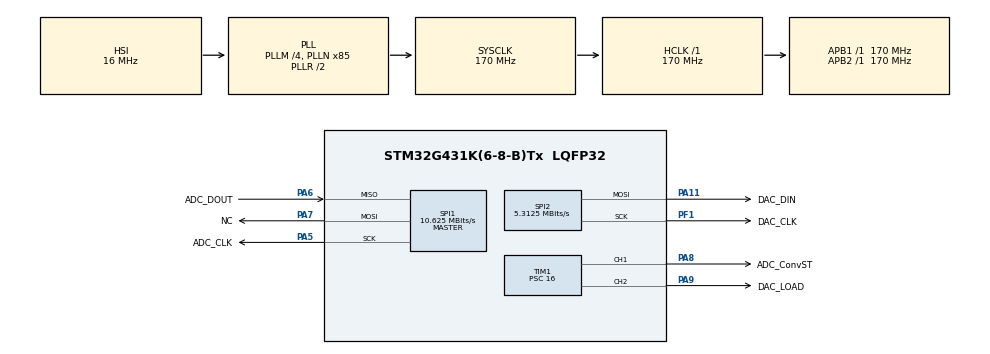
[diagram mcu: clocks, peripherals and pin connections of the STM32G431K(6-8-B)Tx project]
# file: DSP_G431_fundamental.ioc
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Dma.Request0=TIM1_CH1
Dma.Request1=SPI1_RX
Dma.Request2=TIM1_UP
Dma.SPI1_RX.1.Direction=DMA_PERIPH_TO_MEMORY
Dma.SPI1_RX.1.EventEnable=DISABLE
Dma.SPI1_RX.1.Instance=DMA1_Channel2
Dma.SPI1_RX.1.MemDataAlignment=DMA_MDATAALIGN_HALFWORD
Dma.SPI1_RX.1.MemInc=DMA_MINC_ENABLE
Dma.SPI1_RX.1.Mode=DMA_CIRCULAR
Dma.SPI1_RX.1.PeriphDataAlignment=DMA_PDATAALIGN_HALFWORD
Dma.SPI1_RX.1.PeriphInc=DMA_PINC_DISABLE
Dma.SPI1_RX.1.Polarity=HAL_DMAMUX_REQ_GEN_RISING
Dma.SPI1_RX.1.Priority=DMA_PRIORITY_VERY_HIGH
Dma.SPI1_RX.1.RequestNumber=1
Dma.SPI1_RX.1.SignalID=NONE
Dma.SPI1_RX.1.SyncEnable=DISABLE
Dma.SPI1_RX.1.SyncPolarity=HAL_DMAMUX_SYNC_NO_EVENT
Dma.SPI1_RX.1.SyncRequestNumber=1
Dma.SPI1_RX.1.SyncSignalID=NONE
Dma.TIM1_CH1.0.Direction=DMA_MEMORY_TO_PERIPH
Dma.TIM1_CH1.0.EventEnable=DISABLE
Dma.TIM1_CH1.0.Instance=DMA1_Channel1
Dma.TIM1_CH1.0.MemDataAlignment=DMA_MDATAALIGN_HALFWORD
Dma.TIM1_CH1.0.MemInc=DMA_MINC_ENABLE
Dma.TIM1_CH1.0.Mode=DMA_CIRCULAR
Dma.TIM1_CH1.0.PeriphDataAlignment=DMA_PDATAALIGN_HALFWORD
Dma.TIM1_CH1.0.PeriphInc=DMA_PINC_DISABLE
Dma.TIM1_CH1.0.Polarity=HAL_DMAMUX_REQ_GEN_RISING
Dma.TIM1_CH1.0.Priority=DMA_PRIORITY_HIGH
Dma.TIM1_CH1.0.RequestNumber=1
Dma.TIM1_CH1.0.SignalID=NONE
Dma.TIM1_CH1.0.SyncEnable=DISABLE
Dma.TIM1_CH1.0.SyncPolarity=HAL_DMAMUX_SYNC_NO_EVENT
Dma.TIM1_CH1.0.SyncRequestNumber=1
Dma.TIM1_CH1.0.SyncSignalID=NONE
Dma.TIM1_UP.2.Direction=DMA_MEMORY_TO_PERIPH
Dma.TIM1_UP.2.EventEnable=DISABLE
Dma.TIM1_UP.2.Instance=DMA1_Channel3
Dma.TIM1_UP.2.MemDataAlignment=DMA_MDATAALIGN_HALFWORD
Dma.TIM1_UP.2.MemInc=DMA_MINC_ENABLE
Dma.TIM1_UP.2.Mode=DMA_CIRCULAR
Dma.TIM1_UP.2.PeriphDataAlignment=DMA_PDATAALIGN_HALFWORD
Dma.TIM1_UP.2.PeriphInc=DMA_PINC_DISABLE
Dma.TIM1_UP.2.Polarity=HAL_DMAMUX_REQ_GEN_RISING
Dma.TIM1_UP.2.Priority=DMA_PRIORITY_HIGH
Dma.TIM1_UP.2.RequestNumber=1
Dma.TIM1_UP.2.SignalID=NONE
Dma.TIM1_UP.2.SyncEnable=DISABLE
Dma.TIM1_UP.2.SyncPolarity=HAL_DMAMUX_SYNC_NO_EVENT
Dma.TIM1_UP.2.SyncRequestNumber=1
Dma.TIM1_UP.2.SyncSignalID=NONE
Mcu.Family=STM32G4
Mcu.Name=STM32G431K(6-8-B)Tx
Mcu.Package=LQFP32
NUCLEO-G431KB.LD2=true
NUCLEO-G431KB.VCP=true
NVIC.DMA1_Channel1_IRQn=true\:1\:0\:true\:false\:true\:false\:true\:true
NVIC.DMA1_Channel2_IRQn=true\:0\:0\:false\:false\:true\:false\:true\:true
NVIC.DMA1_Channel3_IRQn=true\:1\:0\:true\:false\:true\:false\:true\:true
NVIC.PriorityGroup=NVIC_PRIORITYGROUP_4
PA11.GPIO_Label=DAC_DIN
PA11.Mode=TX_Only_Simplex_Unidirect_Master
PA11.Signal=SPI2_MOSI
PA13.GPIO_Label=T_SWDIO
PA13.Signal=SYS_JTMS-SWDIO
PA14.GPIO_Label=T_SWCLK
PA14.Signal=SYS_JTCK-SWCLK
PA2.Signal=USART2_TX
PA3.Signal=USART2_RX
PA5.GPIO_Label=ADC_CLK
PA5.Mode=Full_Duplex_Master
PA5.Signal=SPI1_SCK
PA6.GPIO_Label=ADC_DOUT
PA6.Mode=Full_Duplex_Master
PA6.Signal=SPI1_MISO
PA7.GPIO_Label=NC
PA7.Mode=Full_Duplex_Master
PA7.Signal=SPI1_MOSI
PA8.GPIO_Label=ADC_ConvST
PA8.Signal=S_TIM1_CH1
PA9.GPIO_Label=DAC_LOAD
PA9.Signal=S_TIM1_CH2
PB3.GPIO_Label=T_SWO
PB3.Signal=SYS_JTDO-SWO
PF1-OSC_OUT.GPIO_Label=DAC_CLK
PF1-OSC_OUT.Mode=TX_Only_Simplex_Unidirect_Master
PF1-OSC_OUT.Signal=SPI2_SCK
ProjectManager.HeapSize=0x200
ProjectManager.StackSize=0x400
ProjectManager.TargetToolchain=STM32CubeIDE
RCC.ADC12Freq_Value=170000000
RCC.AHBFreq_Value=170000000
RCC.APB1Freq_Value=170000000
RCC.APB1TimFreq_Value=170000000
RCC.APB2Freq_Value=170000000
RCC.APB2TimFreq_Value=170000000
RCC.CortexFreq_Value=170000000
RCC.EXTERNAL_CLOCK_VALUE=12288000
RCC.HCLKFreq_Value=170000000
RCC.HSE_VALUE=8000000
RCC.HSI48_VALUE=48000000
RCC.HSI_VALUE=16000000
RCC.LSE_VALUE=32768
RCC.PLLM=RCC_PLLM_DIV4
RCC.PLLN=85
RCC.SYSCLKFreq_VALUE=170000000
RCC.SYSCLKSource=RCC_SYSCLKSOURCE_PLLCLK
RCC.USBFreq_Value=170000000
RCC.VCOOutputFreq_Value=340000000
SH.S_TIM1_CH1.0=TIM1_CH1,PWM Generation1 CH1
SH.S_TIM1_CH2.0=TIM1_CH2,PWM Generation2 CH2
SPI1.BaudRatePrescaler=SPI_BAUDRATEPRESCALER_16
SPI1.CalculateBaudRate=10.625 MBits/s
SPI1.DataSize=SPI_DATASIZE_16BIT
SPI1.Direction=SPI_DIRECTION_2LINES
SPI1.Mode=SPI_MODE_MASTER
SPI1.VirtualType=VM_MASTER
SPI2.BaudRatePrescaler=SPI_BAUDRATEPRESCALER_32
SPI2.CalculateBaudRate=5.3125 MBits/s
SPI2.DataSize=SPI_DATASIZE_16BIT
SPI2.Direction=SPI_DIRECTION_2LINES
SPI2.Mode=SPI_MODE_MASTER
SPI2.VirtualType=VM_MASTER
TIM1.Channel-PWM\ Generation1\ CH1=TIM_CHANNEL_1
TIM1.Channel-PWM\ Generation2\ CH2=TIM_CHANNEL_2
TIM1.ClockDivision=TIM_CLOCKDIVISION_DIV1
TIM1.OCPolarity_2=TIM_OCPOLARITY_LOW
TIM1.PeriodNoDither=1999
TIM1.Prescaler=16
TIM1.PulseNoDither_1=140
TIM1.PulseNoDither_2=100
TIM1.TIM_MasterOutputTrigger=TIM_TRGO_RESET
VP_NUCLEO-G431KB_VS_BSP_COMMON.Mode=COMMON
VP_SYS_VS_DBSignals.Mode=DisableDeadBatterySignals
VP_TIM1_VS_ClockSourceINT.Mode=Internal
board=NUCLEO-G431KB

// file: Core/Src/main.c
/* USER CODE BEGIN Header */
/**
  ******************************************************************************
  * @file           : main.c
  * @brief          : Main program body
  ******************************************************************************
  * @attention
  *
  * Copyright (c) 2026 STMicroelectronics.
  * All rights reserved.
  *
  * This software is licensed under terms that can be found in the LICENSE file
  * in the root directory of this software component.
  * If no LICENSE file comes with this software, it is provided AS-IS.
  *
  ******************************************************************************
  */

// project : 002_G431_PWM_SPI_DAC
//						2026/6/4
//  TIM1でタイミング作成、ADC（Tim1-Ch1）,DAC（Tim1-Ch2）のストローブを生成
//　　SPI1(Full Duplex)にダミーのデータを送信することでADCの変換結果データを受信し、DMAでメモリに収納(spi_adc_rx_buffer)
//　　SP2でDAC向けのデータを出力
//動作確認
//　　SPI1のデータがバッファに入ることを確認
//	想定したタイミングでADC,DACのストローブ信号ができることを確認

/* USER CODE END Header */
#include "main.h"

COM_InitTypeDef BspCOMInit;

SPI_HandleTypeDef hspi1;
SPI_HandleTypeDef hspi2;
DMA_HandleTypeDef hdma_spi1_rx;

TIM_HandleTypeDef htim1;
DMA_HandleTypeDef hdma_tim1_ch1;
DMA_HandleTypeDef hdma_tim1_up;

/* USER CODE BEGIN PV */
#define BUFFER_SIZE 1
uint16_t spi_tx_buffer[BUFFER_SIZE] = {0xAAAA};// dummy data なんでもいい
uint16_t spi_adc_rx_buffer[BUFFER_SIZE] = {0x0000};
uint16_t spi_dac_tx_buffer[BUFFER_SIZE] = {0xA5A5};
/* USER CODE END PV */

void SystemClock_Config(void);
static void MX_GPIO_Init(void);
static void MX_DMA_Init(void);
static void MX_TIM1_Init(void);
static void MX_SPI1_Init(void);
static void MX_SPI2_Init(void);

int main(void)
{

  /* MCU Configuration--------------------------------------------------------*/

  /* Reset of all peripherals, Initializes the Flash interface and the Systick. */
  HAL_Init();

  /* Configure the system clock */
  SystemClock_Config();

  /* Initialize all configured peripherals */
  MX_GPIO_Init();
  MX_DMA_Init();
  MX_TIM1_Init();
  MX_SPI1_Init();
  MX_SPI2_Init();
  /* USER CODE BEGIN 2 */

  /* 2. DMAを起動して、TIM1_CH1のトリガ待機状態にする */
  /* 転送先は SPIxのデータレジスタ(DR)、転送元はバッファ */
  // ADCからのデータ転送(SPI1)用DMA設定
  HAL_DMA_Start(&hdma_tim1_ch1, (uint32_t)spi_tx_buffer, (uint32_t)&hspi1.Instance->DR, BUFFER_SIZE);

  //  SPIのデータ受信でのDMA転送を設定
  HAL_SPI_Receive_DMA(&hspi1, (uint8_t *)spi_adc_rx_buffer, BUFFER_SIZE);

  // DACへのデータ送信（SPI2）用DMA設定
  HAL_DMA_Start(&hdma_tim1_up, (uint32_t)spi_dac_tx_buffer, (uint32_t)&hspi2.Instance->DR, BUFFER_SIZE);

  /* 3. TIM1側のDMAリクエストを有効化する */
  /* これにより比較一致イベントが発生するたびにDMAが駆動される */
  //　　ADCデータ転送タイミングはTIM1のCCイベント

  __HAL_TIM_ENABLE_DMA(&htim1, TIM_DMA_CC1);
  //  DACデータ送信タイミングはTIM1のUpdateイベント
  __HAL_TIM_ENABLE_DMA(&htim1, TIM_DMA_UPDATE);

  /* 4. SPIペリフェラルを有効化する (Masterモード) */
  /* データがDRに書き込まれた瞬間に送信が開始される状態にする */
  //  SPI1 for ADC
  __HAL_SPI_ENABLE(&hspi1);
  //  SPI2 for DAC
  __HAL_SPI_ENABLE(&hspi2);

  /* 5. TIM1のPWM出力を開始する */
  HAL_TIM_PWM_Start(&htim1, TIM_CHANNEL_1);
  HAL_TIM_PWM_Start(&htim1, TIM_CHANNEL_2);

  /* USER CODE END 2 */

  /* Initialize leds */
  BSP_LED_Init(LED_GREEN);

  /* Initialize COM1 port (115200, 8 bits (7-bit data + 1 stop bit), no parity */
  BspCOMInit.BaudRate   = 115200;
  BspCOMInit.WordLength = COM_WORDLENGTH_8B;
  BspCOMInit.StopBits   = COM_STOPBITS_1;
  BspCOMInit.Parity     = COM_PARITY_NONE;
  BspCOMInit.HwFlowCtl  = COM_HWCONTROL_NONE;
  if (BSP_COM_Init(COM1, &BspCOMInit) != BSP_ERROR_NONE)
  {
    Error_Handler();
  }

  /* Infinite loop */
  /* USER CODE BEGIN WHILE */
  while (1)
  {
	  BSP_LED_Toggle(LED_GREEN);

	  // 500ミリ秒待機
	  HAL_Delay(200);
    /* USER CODE END WHILE */

  }
}

void SystemClock_Config(void)
{
  RCC_OscInitTypeDef RCC_OscInitStruct = {0};
  RCC_ClkInitTypeDef RCC_ClkInitStruct = {0};

  /** Configure the main internal regulator output voltage
  */
  HAL_PWREx_ControlVoltageScaling(PWR_REGULATOR_VOLTAGE_SCALE1_BOOST);

  /** Initializes the RCC Oscillators according to the specified parameters
  * in the RCC_OscInitTypeDef structure.
  */
  RCC_OscInitStruct.OscillatorType = RCC_OSCILLATORTYPE_HSI;
  RCC_OscInitStruct.HSIState = RCC_HSI_ON;
  RCC_OscInitStruct.HSICalibrationValue = RCC_HSICALIBRATION_DEFAULT;
  RCC_OscInitStruct.PLL.PLLState = RCC_PLL_ON;
  RCC_OscInitStruct.PLL.PLLSource = RCC_PLLSOURCE_HSI;
  RCC_OscInitStruct.PLL.PLLM = RCC_PLLM_DIV4;
  RCC_OscInitStruct.PLL.PLLN = 85;
  RCC_OscInitStruct.PLL.PLLP = RCC_PLLP_DIV2;
  RCC_OscInitStruct.PLL.PLLQ = RCC_PLLQ_DIV2;
  RCC_OscInitStruct.PLL.PLLR = RCC_PLLR_DIV2;
  if (HAL_RCC_OscConfig(&RCC_OscInitStruct) != HAL_OK)
  {
    Error_Handler();
  }

  /** Initializes the CPU, AHB and APB buses clocks
  */
  RCC_ClkInitStruct.ClockType = RCC_CLOCKTYPE_HCLK|RCC_CLOCKTYPE_SYSCLK
                              |RCC_CLOCKTYPE_PCLK1|RCC_CLOCKTYPE_PCLK2;
  RCC_ClkInitStruct.SYSCLKSource = RCC_SYSCLKSOURCE_PLLCLK;
  RCC_ClkInitStruct.AHBCLKDivider = RCC_SYSCLK_DIV1;
  RCC_ClkInitStruct.APB1CLKDivider = RCC_HCLK_DIV1;
  RCC_ClkInitStruct.APB2CLKDivider = RCC_HCLK_DIV1;

  if (HAL_RCC_ClockConfig(&RCC_ClkInitStruct, FLASH_LATENCY_4) != HAL_OK)
  {
    Error_Handler();
  }
}

static void MX_SPI1_Init(void)
{

  /* SPI1 parameter configuration*/
  hspi1.Instance = SPI1;
  hspi1.Init.Mode = SPI_MODE_MASTER;
  hspi1.Init.Direction = SPI_DIRECTION_2LINES;
  hspi1.Init.DataSize = SPI_DATASIZE_16BIT;
  hspi1.Init.CLKPolarity = SPI_POLARITY_LOW;
  hspi1.Init.CLKPhase = SPI_PHASE_1EDGE;
  hspi1.Init.NSS = SPI_NSS_SOFT;
  hspi1.Init.BaudRatePrescaler = SPI_BAUDRATEPRESCALER_16;
  hspi1.Init.FirstBit = SPI_FIRSTBIT_MSB;
  hspi1.Init.TIMode = SPI_TIMODE_DISABLE;
  hspi1.Init.CRCCalculation = SPI_CRCCALCULATION_DISABLE;
  hspi1.Init.CRCPolynomial = 7;
  hspi1.Init.CRCLength = SPI_CRC_LENGTH_DATASIZE;
  hspi1.Init.NSSPMode = SPI_NSS_PULSE_ENABLE;
  if (HAL_SPI_Init(&hspi1) != HAL_OK)
  {
    Error_Handler();
  }

}

static void MX_SPI2_Init(void)
{

  /* SPI2 parameter configuration*/
  hspi2.Instance = SPI2;
  hspi2.Init.Mode = SPI_MODE_MASTER;
  hspi2.Init.Direction = SPI_DIRECTION_2LINES;
  hspi2.Init.DataSize = SPI_DATASIZE_16BIT;
  hspi2.Init.CLKPolarity = SPI_POLARITY_LOW;
  hspi2.Init.CLKPhase = SPI_PHASE_1EDGE;
  hspi2.Init.NSS = SPI_NSS_SOFT;
  hspi2.Init.BaudRatePrescaler = SPI_BAUDRATEPRESCALER_32;
  hspi2.Init.FirstBit = SPI_FIRSTBIT_MSB;
  hspi2.Init.TIMode = SPI_TIMODE_DISABLE;
  hspi2.Init.CRCCalculation = SPI_CRCCALCULATION_DISABLE;
  hspi2.Init.CRCPolynomial = 7;
  hspi2.Init.CRCLength = SPI_CRC_LENGTH_DATASIZE;
  hspi2.Init.NSSPMode = SPI_NSS_PULSE_ENABLE;
  if (HAL_SPI_Init(&hspi2) != HAL_OK)
  {
    Error_Handler();
  }

}

static void MX_TIM1_Init(void)
{

  TIM_ClockConfigTypeDef sClockSourceConfig = {0};
  TIM_MasterConfigTypeDef sMasterConfig = {0};
  TIM_OC_InitTypeDef sConfigOC = {0};
  TIM_BreakDeadTimeConfigTypeDef sBreakDeadTimeConfig = {0};

  htim1.Instance = TIM1;
  htim1.Init.Prescaler = 16;
  htim1.Init.CounterMode = TIM_COUNTERMODE_UP;
  htim1.Init.Period = 1999;
  htim1.Init.ClockDivision = TIM_CLOCKDIVISION_DIV1;
  htim1.Init.RepetitionCounter = 0;
  htim1.Init.AutoReloadPreload = TIM_AUTORELOAD_PRELOAD_DISABLE;
  if (HAL_TIM_Base_Init(&htim1) != HAL_OK)
  {
    Error_Handler();
  }
  sClockSourceConfig.ClockSource = TIM_CLOCKSOURCE_INTERNAL;
  if (HAL_TIM_ConfigClockSource(&htim1, &sClockSourceConfig) != HAL_OK)
  {
    Error_Handler();
  }
  if (HAL_TIM_PWM_Init(&htim1) != HAL_OK)
  {
    Error_Handler();
  }
  sMasterConfig.MasterOutputTrigger = TIM_TRGO_RESET;
  sMasterConfig.MasterOutputTrigger2 = TIM_TRGO2_RESET;
  sMasterConfig.MasterSlaveMode = TIM_MASTERSLAVEMODE_DISABLE;
  if (HAL_TIMEx_MasterConfigSynchronization(&htim1, &sMasterConfig) != HAL_OK)
  {
    Error_Handler();
  }
  sConfigOC.OCMode = TIM_OCMODE_PWM1;
  sConfigOC.Pulse = 140;
  sConfigOC.OCPolarity = TIM_OCPOLARITY_HIGH;
  sConfigOC.OCNPolarity = TIM_OCNPOLARITY_HIGH;
  sConfigOC.OCFastMode = TIM_OCFAST_DISABLE;
  sConfigOC.OCIdleState = TIM_OCIDLESTATE_RESET;
  sConfigOC.OCNIdleState = TIM_OCNIDLESTATE_RESET;
  if (HAL_TIM_PWM_ConfigChannel(&htim1, &sConfigOC, TIM_CHANNEL_1) != HAL_OK)
  {
    Error_Handler();
  }
  sConfigOC.Pulse = 100;
  sConfigOC.OCPolarity = TIM_OCPOLARITY_LOW;
  if (HAL_TIM_PWM_ConfigChannel(&htim1, &sConfigOC, TIM_CHANNEL_2) != HAL_OK)
  {
    Error_Handler();
  }
  sBreakDeadTimeConfig.OffStateRunMode = TIM_OSSR_DISABLE;
  sBreakDeadTimeConfig.OffStateIDLEMode = TIM_OSSI_DISABLE;
  sBreakDeadTimeConfig.LockLevel = TIM_LOCKLEVEL_OFF;
  sBreakDeadTimeConfig.DeadTime = 0;
  sBreakDeadTimeConfig.BreakState = TIM_BREAK_DISABLE;
  sBreakDeadTimeConfig.BreakPolarity = TIM_BREAKPOLARITY_HIGH;
  sBreakDeadTimeConfig.BreakFilter = 0;
  sBreakDeadTimeConfig.BreakAFMode = TIM_BREAK_AFMODE_INPUT;
  sBreakDeadTimeConfig.Break2State = TIM_BREAK2_DISABLE;
  sBreakDeadTimeConfig.Break2Polarity = TIM_BREAK2POLARITY_HIGH;
  sBreakDeadTimeConfig.Break2Filter = 0;
  sBreakDeadTimeConfig.Break2AFMode = TIM_BREAK_AFMODE_INPUT;
  sBreakDeadTimeConfig.AutomaticOutput = TIM_AUTOMATICOUTPUT_DISABLE;
  if (HAL_TIMEx_ConfigBreakDeadTime(&htim1, &sBreakDeadTimeConfig) != HAL_OK)
  {
    Error_Handler();
  }
  HAL_TIM_MspPostInit(&htim1);

}

static void MX_DMA_Init(void)
{

  /* DMA controller clock enable */
  __HAL_RCC_DMAMUX1_CLK_ENABLE();
  __HAL_RCC_DMA1_CLK_ENABLE();

  /* DMA interrupt init */
  /* DMA1_Channel1_IRQn interrupt configuration */
  HAL_NVIC_SetPriority(DMA1_Channel1_IRQn, 1, 0);
  HAL_NVIC_EnableIRQ(DMA1_Channel1_IRQn);
  /* DMA1_Channel2_IRQn interrupt configuration */
  HAL_NVIC_SetPriority(DMA1_Channel2_IRQn, 0, 0);
  HAL_NVIC_EnableIRQ(DMA1_Channel2_IRQn);
  /* DMA1_Channel3_IRQn interrupt configuration */
  HAL_NVIC_SetPriority(DMA1_Channel3_IRQn, 1, 0);
  HAL_NVIC_EnableIRQ(DMA1_Channel3_IRQn);

}

static void MX_GPIO_Init(void)
{

  /* GPIO Ports Clock Enable */
  __HAL_RCC_GPIOF_CLK_ENABLE();
  __HAL_RCC_GPIOA_CLK_ENABLE();
  __HAL_RCC_GPIOB_CLK_ENABLE();

}

/* USER CODE BEGIN Header */
/**
  ******************************************************************************
  * @file           : main.c
  * @brief          : Main program body
  ******************************************************************************
  * @attention
  *
  * Copyright (c) 2026 STMicroelectronics.
  * All rights reserved.
  *
  * This software is licensed under terms that can be found in the LICENSE file
  * in the root directory of this software component.
  * If no LICENSE file comes with this software, it is provided AS-IS.
  *
  ******************************************************************************
  */

// project : 002_G431_PWM_SPI_DAC
//						2026/6/4
//  TIM1でタイミング作成、ADC（Tim1-Ch1）,DAC（Tim1-Ch2）のストローブを生成
//　　SPI1(Full Duplex)にダミーのデータを送信することでADCの変換結果データを受信し、DMAでメモリに収納(spi_adc_rx_buffer)
//　　SP2でDAC向けのデータを出力
//動作確認
//　　SPI1のデータがバッファに入ることを確認
//	想定したタイミングでADC,DACのストローブ信号ができることを確認

/* USER CODE END Header */

void Error_Handler(void)
{
  __disable_irq();
  while (1)
  {
  }
}
